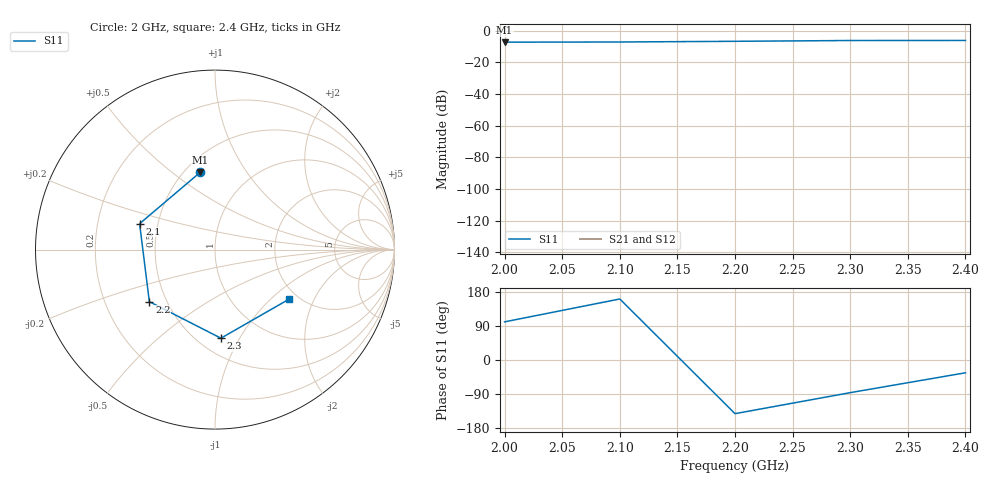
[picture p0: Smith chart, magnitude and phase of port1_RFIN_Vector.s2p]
!National Instruments | Interval: 30 Days
!National Instruments | Date: 1:54:09.440 PM 11/5/2024
# GHZ S DB R 50
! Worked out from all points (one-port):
!   5 points, 2 GHz to 2.4 GHz, reference 50 ohm
!   lowest |S11| = -7.2 dB at 2 GHz (marker M1), VSWR 2.57, Z = 29.8 + j31.8 ohm
!   |S11| at or under -10 dB: nowhere
!   S11 on the Smith chart (normalised r, x): 2 GHz: 0.60, +0.64; 2.1 GHz: 0.39, +0.14; 2.2 GHz: 0.40, -0.30; 2.3 GHz: 0.64, -0.84; 2.4 GHz: 1.79, -1.31
2  -7.15 100.7  -159.24 -64.6  -159.24 -64.6  -324.96 -72.1
2.1  -7.05 161.0  -159.32 -144.4  -159.32 -144.4  -330.16 -116.6
2.2  -6.62 -141.6  -164.40 -124.4  -164.40 -124.4  -330.16 -63.4
2.3  -6.11 -86.2  -158.82 -80.4  -158.82 -80.4  -330.15 -59.9
2.4  -6.08 -33.7  -157.66 -46.7  -157.66 -46.7  -322.56 -27.8
